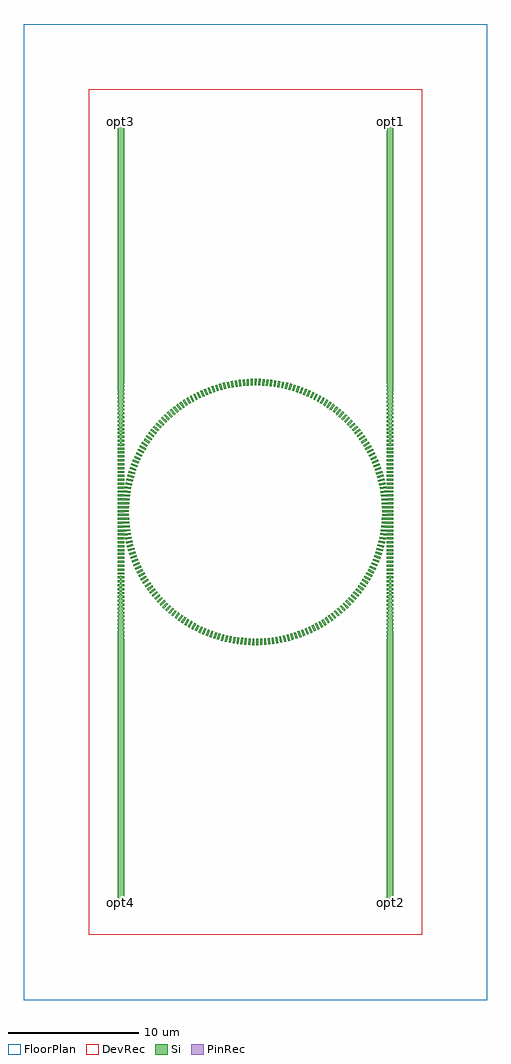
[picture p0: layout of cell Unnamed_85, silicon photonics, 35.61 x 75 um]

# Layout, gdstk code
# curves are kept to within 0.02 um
import gdstk
lib = gdstk.Library(unit=1e-6, precision=1e-09)
def R(c, l, rs):  # rectangles x0, y0, x1, y1
    for r in rs: c.add(gdstk.rectangle(r[:2], r[2:], *l))
def A(c, l, x, y, w, h, nx, ny, dx, dy):  # array of equal rectangles
    R(c, l, [(x+i*dx, y+j*dy, x+i*dx+w, y+j*dy+h) for i in range(nx) for j in range(ny)])
def P(c, l, *ps):  # polygons
    for p in ps: c.add(gdstk.Polygon(p, *l))
Si = (1, 0)
PinRec = (1, 10)
DevRec = (68, 0)
FloorPlan = (99, 0)

unnamed_85 = lib.new_cell('Unnamed_85')
A(unnamed_85, Si, -10.604, -4.8, 0.5, 0.15, 1, 11, 0, 0.3)
A(unnamed_85, Si, 10.104, -4.8, 0.5, 0.15, 1, 11, 0, 0.3)
A(unnamed_85, Si, -10.604, 1.8, 0.5, 0.15, 1, 11, 0, 0.3)
A(unnamed_85, Si, 10.104, 1.8, 0.5, 0.15, 1, 11, 0, 0.3)
P(unnamed_85, Si, [(-0.072,9.729),(-0.076,10.229),(0.078,10.229),(0.074,9.729)],
  [(9.725,0.292),(9.719,0.439),(10.219,0.461),(10.219,0.45),(10.604,0.45),(10.604,0.3),(10.104,0.3),(10.104,0.303)],
  [(9.711,0.585),(9.702,0.73),(10.2,0.768),(10.201,0.75),(10.604,0.75),(10.604,0.6),(10.104,0.6),(10.104,0.609)],
  [(9.689,0.876),(9.675,1.022),(10.172,1.074),(10.174,1.05),(10.604,1.05),(10.604,0.9),(10.104,0.9),(10.104,0.913)],
  [(9.659,1.167),(9.64,1.312),(10.136,1.38),(10.14,1.35),(10.604,1.35),(10.604,1.2),(10.104,1.2),(10.104,1.221)],
  [(9.619,1.457),(9.596,1.601),(10.09,1.684),(10.104,1.595),(10.104,1.65),(10.604,1.65),(10.604,1.5),(10.104,1.5),(10.104,1.53)],
  [(9.571,1.745),(9.544,1.889),(10.034,1.986),(10.063,1.835)],
  [(9.514,2.032),(9.483,2.175),(9.97,2.287),(10.003,2.137)],
  [(9.449,2.317),(9.413,2.459),(9.897,2.585),(9.935,2.436)],
  [(9.375,2.6),(9.335,2.741),(9.815,2.882),(9.857,2.734)],
  [(9.293,2.881),(9.248,3.02),(9.724,3.175),(9.77,3.029)],
  [(9.202,3.159),(9.153,3.297),(9.624,3.466),(9.675,3.321)],
  [(9.103,3.434),(9.05,3.57),(9.515,3.754),(9.571,3.61)],
  [(8.996,3.706),(8.939,3.841),(9.398,4.038),(9.458,3.896)],
  [(8.88,3.975),(8.819,4.108),(9.273,4.319),(9.336,4.179)],
  [(8.757,4.24),(8.692,4.371),(9.139,4.596),(9.207,4.458)],
  [(8.625,4.501),(8.557,4.63),(8.996,4.868),(9.068,4.732)],
  [(8.486,4.758),(8.414,4.885),(8.846,5.136),(8.922,5.003)],
  [(8.339,5.011),(8.263,5.136),(8.688,5.4),(8.768,5.269)],
  [(8.185,5.26),(8.105,5.382),(8.521,5.659),(8.605,5.53)],
  [(8.023,5.503),(7.939,5.623),(8.347,5.912),(8.435,5.786)],
  [(7.854,5.742),(7.767,5.859),(8.166,6.16),(8.258,6.037)],
  [(7.678,5.975),(7.587,6.09),(7.977,6.403),(8.072,6.282)],
  [(7.495,6.203),(7.401,6.315),(7.781,6.64),(7.88,6.522)],
  [(7.305,6.426),(7.208,6.535),(7.578,6.871),(7.68,6.756)],
  [(7.109,6.642),(7.008,6.749),(7.368,7.095),(7.474,6.984)],
  [(6.906,6.853),(6.802,6.956),(7.151,7.314),(7.261,7.205)],
  [(6.697,7.058),(6.59,7.157),(6.928,7.525),(7.041,7.42)],
  [(6.481,7.256),(6.372,7.352),(6.699,7.73),(6.815,7.629)],
  [(6.26,7.447),(6.148,7.54),(6.464,7.928),(6.582,7.83)],
  [(6.034,7.632),(5.918,7.722),(6.223,8.119),(6.344,8.024)],
  [(5.802,7.81),(5.684,7.896),(5.976,8.302),(6.1,8.211)],
  [(5.564,7.981),(5.444,8.064),(5.723,8.478),(5.85,8.391)],
  [(5.322,8.144),(5.199,8.223),(5.466,8.646),(5.595,8.563)],
  [(5.075,8.301),(4.949,8.376),(5.204,8.806),(5.335,8.727)],
  [(4.823,8.449),(4.695,8.521),(4.937,8.959),(5.071,8.884)],
  [(4.567,8.591),(4.437,8.658),(4.665,9.103),(4.801,9.032)],
  [(4.306,8.724),(4.175,8.788),(4.389,9.239),(4.528,9.172)],
  [(4.042,8.849),(3.909,8.909),(4.11,9.367),(4.25,9.304)],
  [(3.775,8.967),(3.639,9.023),(3.826,9.486),(3.969,9.428)],
  [(3.503,9.076),(3.366,9.128),(3.54,9.597),(3.683,9.543)],
  [(3.229,9.178),(3.091,9.225),(3.249,9.699),(3.395,9.649)],
  [(2.952,9.27),(2.812,9.314),(2.956,9.792),(3.103,9.747)],
  [(2.672,9.355),(2.531,9.394),(2.661,9.877),(2.809,9.836)],
  [(2.389,9.431),(2.247,9.466),(2.363,9.952),(2.512,9.916)],
  [(2.105,9.499),(1.962,9.529),(2.063,10.019),(2.213,9.987)],
  [(1.818,9.558),(1.674,9.584),(1.76,10.076),(1.912,10.049)],
  [(1.53,9.608),(1.386,9.63),(1.457,10.125),(1.609,10.102)],
  [(1.241,9.65),(1.096,9.667),(1.152,10.164),(1.304,10.145)],
  [(0.95,9.683),(0.805,9.696),(0.846,10.194),(0.999,10.18)],
  [(0.659,9.707),(0.513,9.715),(0.539,10.215),(0.693,10.206)],
  [(0.367,9.722),(0.22,9.727),(0.232,10.226),(0.385,10.222)],
  [(9.729,0),(9.728,0.146),(10.228,0.154),(10.228,0.15),(10.604,0.15),(10.604,0)],
  [(10.324,5.05),(10.322,5.1),(10.104,5.1),(10.104,5.25),(10.315,5.25),(10.309,5.4),(10.104,5.4),(10.104,5.55),(10.302,5.55),(10.295,5.7),(10.104,5.7),(10.104,5.85),(10.289,5.85),(10.282,6),(10.104,6),(10.104,6.15),(10.276,6.15),(10.269,6.3),(10.104,6.3),(10.104,6.45),(10.262,6.45),(10.256,6.6),(10.104,6.6),(10.104,6.75),(10.249,6.75),(10.243,6.9),(10.104,6.9),(10.104,7.05),(10.236,7.05),(10.229,7.2),(10.104,7.2),(10.104,7.35),(10.223,7.35),(10.216,7.5),(10.104,7.5),(10.104,7.65),(10.21,7.65),(10.203,7.8),(10.104,7.8),(10.104,7.95),(10.196,7.95),(10.19,8.1),(10.104,8.1),(10.104,8.25),(10.183,8.25),(10.177,8.4),(10.104,8.4),(10.104,8.55),(10.17,8.55),(10.163,8.7),(10.104,8.7),(10.104,8.85),(10.157,8.85),(10.15,9),(10.104,9),(10.104,9.15),(10.144,9.15),(10.137,9.3),(10.104,9.3),(10.104,9.45),(10.13,9.45),(10.104,9.6),(10.104,30),(10.604,30),(10.604,9.6),(10.578,9.45),(10.604,9.45),(10.604,9.3),(10.571,9.3),(10.564,9.15),(10.604,9.15),(10.604,9),(10.558,9),(10.551,8.85),(10.604,8.85),(10.604,8.7),(10.545,8.7),(10.538,8.55),(10.604,8.55),(10.604,8.4),(10.531,8.4),(10.525,8.25),(10.604,8.25),(10.604,8.1),(10.518,8.1),(10.512,7.95),(10.604,7.95),(10.604,7.8),(10.505,7.8),(10.498,7.65),(10.604,7.65),(10.604,7.5),(10.492,7.5),(10.485,7.35),(10.604,7.35),(10.604,7.2),(10.479,7.2),(10.472,7.05),(10.604,7.05),(10.604,6.9),(10.465,6.9),(10.459,6.75),(10.604,6.75),(10.604,6.6),(10.452,6.6),(10.446,6.45),(10.604,6.45),(10.604,6.3),(10.439,6.3),(10.432,6.15),(10.604,6.15),(10.604,6),(10.426,6),(10.419,5.85),(10.604,5.85),(10.604,5.7),(10.413,5.7),(10.406,5.55),(10.604,5.55),(10.604,5.4),(10.399,5.4),(10.393,5.25),(10.604,5.25),(10.604,5.1),(10.386,5.1),(10.384,5.05)],
  [(-7.853,5.744),(-8.256,6.039),(-8.164,6.162),(-7.765,5.861)],
  [(-7.676,5.977),(-8.071,6.284),(-7.976,6.405),(-7.586,6.092)],
  [(-10.604,0),(-10.604,0.15),(-10.228,0.15),(-10.228,0.156),(-9.728,0.149),(-9.729,0.002),(-10.104,0.002),(-10.104,0)],
  [(-7.493,6.205),(-7.878,6.524),(-7.779,6.642),(-7.399,6.317)],
  [(-9.201,3.161),(-9.674,3.323),(-9.623,3.468),(-9.153,3.299)],
  [(-7.303,6.428),(-7.679,6.758),(-7.576,6.873),(-7.206,6.537)],
  [(-7.107,6.644),(-7.472,6.986),(-7.366,7.097),(-7.006,6.75)],
  [(-9.658,1.169),(-10.104,1.223),(-10.104,1.2),(-10.604,1.2),(-10.604,1.35),(-10.139,1.35),(-10.135,1.382),(-9.64,1.314)],
  [(-6.904,6.855),(-7.259,7.207),(-7.15,7.315),(-6.8,6.958)],
  [(-9.514,2.034),(-10.003,2.139),(-9.97,2.289),(-9.482,2.177)],
  [(-6.695,7.059),(-7.039,7.422),(-6.927,7.527),(-6.588,7.159)],
  [(-9.102,3.436),(-9.57,3.613),(-9.514,3.756),(-9.049,3.572)],
  [(-6.48,7.257),(-6.813,7.63),(-6.697,7.732),(-6.37,7.354)],
  [(-6.259,7.449),(-6.58,7.832),(-6.462,7.93),(-6.146,7.542)],
  [(-8.995,3.708),(-9.457,3.899),(-9.397,4.04),(-8.938,3.843)],
  [(-6.032,7.633),(-6.342,8.026),(-6.221,8.12),(-5.917,7.723)],
  [(-5.8,7.811),(-6.098,8.213),(-5.974,8.303),(-5.682,7.898)],
  [(-9.711,0.587),(-10.104,0.611),(-10.104,0.6),(-10.604,0.6),(-10.604,0.75),(-10.201,0.75),(-10.2,0.77),(-9.701,0.733)],
  [(-5.562,7.982),(-5.848,8.392),(-5.721,8.479),(-5.442,8.065)],
  [(-9.619,1.459),(-10.104,1.533),(-10.104,1.5),(-10.604,1.5),(-10.604,1.65),(-10.104,1.65),(-10.104,1.591),(-10.089,1.686),(-9.596,1.603)],
  [(-5.32,8.146),(-5.593,8.564),(-5.464,8.647),(-5.197,8.225)],
  [(-8.879,3.977),(-9.335,4.181),(-9.272,4.321),(-8.818,4.11)],
  [(-5.073,8.302),(-5.333,8.729),(-5.202,8.808),(-4.947,8.377)],
  [(-4.821,8.451),(-5.069,8.885),(-4.935,8.96),(-4.693,8.522)],
  [(-9.448,2.319),(-9.934,2.439),(-9.896,2.588),(-9.413,2.461)],
  [(-4.565,8.592),(-4.799,9.033),(-4.663,9.104),(-4.435,8.659)],
  [(-4.304,8.725),(-4.526,9.173),(-4.387,9.24),(-4.173,8.789)],
  [(-8.756,4.242),(-9.206,4.46),(-9.137,4.598),(-8.691,4.373)],
  [(-4.04,8.85),(-4.248,9.305),(-4.108,9.368),(-3.907,8.91)],
  [(-3.772,8.968),(-3.966,9.429),(-3.824,9.487),(-3.637,9.024)],
  [(-3.501,9.077),(-3.681,9.544),(-3.537,9.598),(-3.364,9.129)],
  [(-9.725,0.295),(-10.104,0.306),(-10.104,0.3),(-10.604,0.3),(-10.604,0.45),(-10.219,0.45),(-10.219,0.464),(-9.719,0.441)],
  [(-3.227,9.178),(-3.393,9.65),(-3.247,9.7),(-3.088,9.226)],
  [(-8.624,4.503),(-9.067,4.735),(-8.995,4.87),(-8.555,4.632)],
  [(-2.949,9.271),(-3.101,9.748),(-2.954,9.793),(-2.81,9.314)],
  [(-2.669,9.356),(-2.807,9.836),(-2.658,9.878),(-2.529,9.395)],
  [(-9.375,2.602),(-9.856,2.736),(-9.814,2.884),(-9.334,2.743)],
  [(-2.387,9.432),(-2.51,9.916),(-2.36,9.953),(-2.245,9.466)],
  [(-2.102,9.499),(-2.211,9.987),(-2.06,10.019),(-1.959,9.53)],
  [(-8.485,4.76),(-8.921,5.005),(-8.845,5.138),(-8.412,4.887)],
  [(-1.816,9.558),(-1.909,10.049),(-1.758,10.077),(-1.672,9.584)],
  [(-1.528,9.608),(-1.606,10.102),(-1.454,10.125),(-1.383,9.63)],
  [(-9.689,0.878),(-10.104,0.916),(-10.104,0.9),(-10.604,0.9),(-10.604,1.05),(-10.175,1.05),(-10.172,1.077),(-9.675,1.024)],
  [(-1.238,9.65),(-1.302,10.146),(-1.149,10.164),(-1.093,9.667)],
  [(-8.338,5.013),(-8.767,5.271),(-8.686,5.402),(-8.262,5.138)],
  [(-0.948,9.683),(-0.997,10.18),(-0.843,10.194),(-0.802,9.696)],
  [(-9.571,1.748),(-10.063,1.837),(-10.034,1.988),(-9.543,1.891)],
  [(-0.656,9.707),(-0.69,10.206),(-0.537,10.215),(-0.51,9.716)],
  [(-8.184,5.261),(-8.604,5.532),(-8.52,5.661),(-8.104,5.384)],
  [(-0.364,9.722),(-0.383,10.222),(-0.229,10.226),(-0.218,9.727)],
  [(-9.292,2.883),(-9.77,3.031),(-9.723,3.178),(-9.248,3.022)],
  [(-8.022,5.505),(-8.434,5.788),(-8.346,5.914),(-7.938,5.625)],
  [(-10.384,5.05),(-10.386,5.1),(-10.604,5.1),(-10.604,5.25),(-10.393,5.25),(-10.399,5.4),(-10.604,5.4),(-10.604,5.55),(-10.406,5.55),(-10.413,5.7),(-10.604,5.7),(-10.604,5.85),(-10.419,5.85),(-10.426,6),(-10.604,6),(-10.604,6.15),(-10.432,6.15),(-10.439,6.3),(-10.604,6.3),(-10.604,6.45),(-10.446,6.45),(-10.452,6.6),(-10.604,6.6),(-10.604,6.75),(-10.459,6.75),(-10.465,6.9),(-10.604,6.9),(-10.604,7.05),(-10.472,7.05),(-10.479,7.2),(-10.604,7.2),(-10.604,7.35),(-10.485,7.35),(-10.492,7.5),(-10.604,7.5),(-10.604,7.65),(-10.498,7.65),(-10.505,7.8),(-10.604,7.8),(-10.604,7.95),(-10.512,7.95),(-10.518,8.1),(-10.604,8.1),(-10.604,8.25),(-10.525,8.25),(-10.531,8.4),(-10.604,8.4),(-10.604,8.55),(-10.538,8.55),(-10.545,8.7),(-10.604,8.7),(-10.604,8.85),(-10.551,8.85),(-10.558,9),(-10.604,9),(-10.604,9.15),(-10.564,9.15),(-10.571,9.3),(-10.604,9.3),(-10.604,9.45),(-10.578,9.45),(-10.604,9.6),(-10.604,30),(-10.104,30),(-10.104,9.6),(-10.13,9.45),(-10.104,9.45),(-10.104,9.3),(-10.137,9.3),(-10.144,9.15),(-10.104,9.15),(-10.104,9),(-10.15,9),(-10.157,8.85),(-10.104,8.85),(-10.104,8.7),(-10.163,8.7),(-10.17,8.55),(-10.104,8.55),(-10.104,8.4),(-10.177,8.4),(-10.183,8.25),(-10.104,8.25),(-10.104,8.1),(-10.19,8.1),(-10.196,7.95),(-10.104,7.95),(-10.104,7.8),(-10.203,7.8),(-10.21,7.65),(-10.104,7.65),(-10.104,7.5),(-10.216,7.5),(-10.223,7.35),(-10.104,7.35),(-10.104,7.2),(-10.229,7.2),(-10.236,7.05),(-10.104,7.05),(-10.104,6.9),(-10.243,6.9),(-10.249,6.75),(-10.104,6.75),(-10.104,6.6),(-10.256,6.6),(-10.262,6.45),(-10.104,6.45),(-10.104,6.3),(-10.269,6.3),(-10.276,6.15),(-10.104,6.15),(-10.104,6),(-10.282,6),(-10.289,5.85),(-10.104,5.85),(-10.104,5.7),(-10.295,5.7),(-10.302,5.55),(-10.104,5.55),(-10.104,5.4),(-10.309,5.4),(-10.315,5.25),(-10.104,5.25),(-10.104,5.1),(-10.322,5.1),(-10.324,5.05)],
  [(-0.388,-10.222),(-0.541,-10.215),(-0.515,-9.715),(-0.369,-9.722)],
  [(-0.695,-10.205),(-0.848,-10.194),(-0.807,-9.696),(-0.661,-9.707)],
  [(-1.001,-10.18),(-1.154,-10.164),(-1.098,-9.667),(-0.952,-9.682)],
  [(-1.307,-10.145),(-1.459,-10.124),(-1.388,-9.63),(-1.243,-9.649)],
  [(-1.611,-10.101),(-1.763,-10.076),(-1.677,-9.583),(-1.532,-9.608)],
  [(-1.914,-10.048),(-2.065,-10.018),(-1.964,-9.529),(-1.821,-9.557)],
  [(-2.215,-9.986),(-2.365,-9.952),(-2.249,-9.465),(-2.107,-9.498)],
  [(-2.514,-9.915),(-2.663,-9.876),(-2.533,-9.393),(-2.392,-9.431)],
  [(-2.811,-9.835),(-2.959,-9.792),(-2.814,-9.313),(-2.674,-9.354)],
  [(-3.106,-9.746),(-3.252,-9.698),(-3.093,-9.224),(-2.954,-9.27)],
  [(-3.397,-9.648),(-3.542,-9.596),(-3.369,-9.127),(-3.231,-9.177)],
  [(-3.686,-9.542),(-3.829,-9.485),(-3.641,-9.022),(-3.505,-9.076)],
  [(-3.971,-9.427),(-4.112,-9.366),(-3.911,-8.908),(-3.777,-8.966)],
  [(-4.252,-9.303),(-4.392,-9.238),(-4.177,-8.787),(-4.044,-8.849)],
  [(-4.53,-9.171),(-4.667,-9.102),(-4.439,-8.657),(-4.309,-8.723)],
  [(-4.804,-9.031),(-4.939,-8.958),(-4.697,-8.52),(-4.569,-8.59)],
  [(-5.073,-8.883),(-5.206,-8.805),(-4.951,-8.375),(-4.825,-8.448)],
  [(-5.338,-8.726),(-5.468,-8.645),(-5.201,-8.222),(-5.077,-8.299)],
  [(-5.597,-8.562),(-5.725,-8.477),(-5.446,-8.062),(-5.324,-8.143)],
  [(-5.852,-8.39),(-5.978,-8.301),(-5.685,-7.895),(-5.566,-7.979)],
  [(-6.102,-8.21),(-6.224,-8.117),(-5.92,-7.72),(-5.803,-7.809)],
  [(-6.346,-8.023),(-6.466,-7.926),(-6.15,-7.539),(-6.036,-7.631)],
  [(-6.584,-7.828),(-6.701,-7.729),(-6.373,-7.351),(-6.262,-7.446)],
  [(-6.816,-7.627),(-6.93,-7.524),(-6.591,-7.156),(-6.483,-7.254)],
  [(-7.042,-7.419),(-7.153,-7.312),(-6.804,-6.955),(-6.698,-7.056)],
  [(-7.262,-7.204),(-7.37,-7.094),(-7.009,-6.747),(-6.907,-6.852)],
  [(-7.475,-6.982),(-7.58,-6.869),(-7.209,-6.533),(-7.11,-6.641)],
  [(-7.682,-6.754),(-7.783,-6.638),(-7.402,-6.314),(-7.306,-6.424)],
  [(-7.882,-6.52),(-7.979,-6.401),(-7.589,-6.088),(-7.496,-6.202)],
  [(-8.074,-6.28),(-8.167,-6.158),(-7.768,-5.857),(-7.679,-5.973)],
  [(-8.259,-6.035),(-8.349,-5.91),(-7.941,-5.621),(-7.855,-5.74)],
  [(-8.437,-5.784),(-8.523,-5.657),(-8.106,-5.38),(-8.024,-5.501)],
  [(-8.607,-5.528),(-8.689,-5.398),(-8.264,-5.134),(-8.186,-5.258)],
  [(-10.604,-30),(-10.604,-9.45),(-10.578,-9.3),(-10.604,-9.3),(-10.604,-9.15),(-10.571,-9.15),(-10.564,-9),(-10.604,-9),(-10.604,-8.85),(-10.558,-8.85),(-10.551,-8.7),(-10.604,-8.7),(-10.604,-8.55),(-10.545,-8.55),(-10.538,-8.4),(-10.604,-8.4),(-10.604,-8.25),(-10.531,-8.25),(-10.525,-8.1),(-10.604,-8.1),(-10.604,-7.95),(-10.518,-7.95),(-10.512,-7.8),(-10.604,-7.8),(-10.604,-7.65),(-10.505,-7.65),(-10.498,-7.5),(-10.604,-7.5),(-10.604,-7.35),(-10.492,-7.35),(-10.485,-7.2),(-10.604,-7.2),(-10.604,-7.05),(-10.479,-7.05),(-10.472,-6.9),(-10.604,-6.9),(-10.604,-6.75),(-10.465,-6.75),(-10.459,-6.6),(-10.604,-6.6),(-10.604,-6.45),(-10.452,-6.45),(-10.446,-6.3),(-10.604,-6.3),(-10.604,-6.15),(-10.439,-6.15),(-10.432,-6),(-10.604,-6),(-10.604,-5.85),(-10.426,-5.85),(-10.419,-5.7),(-10.604,-5.7),(-10.604,-5.55),(-10.413,-5.55),(-10.406,-5.4),(-10.604,-5.4),(-10.604,-5.25),(-10.399,-5.25),(-10.393,-5.1),(-10.604,-5.1),(-10.604,-4.95),(-10.386,-4.95),(-10.384,-4.9),(-10.324,-4.9),(-10.322,-4.95),(-10.104,-4.95),(-10.104,-5.1),(-10.315,-5.1),(-10.309,-5.25),(-10.104,-5.25),(-10.104,-5.4),(-10.302,-5.4),(-10.295,-5.55),(-10.104,-5.55),(-10.104,-5.7),(-10.289,-5.7),(-10.282,-5.85),(-10.104,-5.85),(-10.104,-6),(-10.276,-6),(-10.269,-6.15),(-10.104,-6.15),(-10.104,-6.3),(-10.262,-6.3),(-10.256,-6.45),(-10.104,-6.45),(-10.104,-6.6),(-10.249,-6.6),(-10.243,-6.75),(-10.104,-6.75),(-10.104,-6.9),(-10.236,-6.9),(-10.229,-7.05),(-10.104,-7.05),(-10.104,-7.2),(-10.223,-7.2),(-10.216,-7.35),(-10.104,-7.35),(-10.104,-7.5),(-10.21,-7.5),(-10.203,-7.65),(-10.104,-7.65),(-10.104,-7.8),(-10.196,-7.8),(-10.19,-7.95),(-10.104,-7.95),(-10.104,-8.1),(-10.183,-8.1),(-10.177,-8.25),(-10.104,-8.25),(-10.104,-8.4),(-10.17,-8.4),(-10.163,-8.55),(-10.104,-8.55),(-10.104,-8.7),(-10.157,-8.7),(-10.15,-8.85),(-10.104,-8.85),(-10.104,-9),(-10.144,-9),(-10.137,-9.15),(-10.104,-9.15),(-10.104,-9.3),(-10.13,-9.3),(-10.104,-9.45),(-10.104,-30)],
  [(-8.769,-5.267),(-8.847,-5.134),(-8.415,-4.883),(-8.34,-5.009)],
  [(-8.923,-5.001),(-8.997,-4.866),(-8.558,-4.628),(-8.487,-4.756)],
  [(-9.07,-4.73),(-9.14,-4.593),(-8.693,-4.369),(-8.626,-4.499)],
  [(-9.208,-4.455),(-9.274,-4.317),(-8.82,-4.106),(-8.758,-4.238)],
  [(-9.337,-4.177),(-9.399,-4.036),(-8.94,-3.839),(-8.881,-3.973)],
  [(-9.459,-3.894),(-9.516,-3.752),(-9.051,-3.568),(-8.996,-3.704)],
  [(-9.572,-3.608),(-9.625,-3.464),(-9.154,-3.295),(-9.104,-3.432)],
  [(-9.676,-3.319),(-9.724,-3.173),(-9.249,-3.018),(-9.203,-3.157)],
  [(-9.771,-3.027),(-9.815,-2.879),(-9.336,-2.739),(-9.293,-2.879)],
  [(-9.858,-2.731),(-9.898,-2.583),(-9.414,-2.457),(-9.376,-2.598)],
  [(-9.935,-2.434),(-9.971,-2.284),(-9.483,-2.173),(-9.45,-2.315)],
  [(-10.004,-2.134),(-10.035,-1.984),(-9.544,-1.887),(-9.515,-2.03)],
  [(-10.064,-1.833),(-10.09,-1.681),(-9.597,-1.599),(-9.572,-1.743)],
  [(-10.114,-1.529),(-10.118,-1.5),(-10.604,-1.5),(-10.604,-1.35),(-10.104,-1.35),(-10.104,-1.373),(-9.64,-1.31),(-9.62,-1.455)],
  [(-10.155,-1.225),(-10.158,-1.2),(-10.604,-1.2),(-10.604,-1.05),(-10.104,-1.05),(-10.104,-1.065),(-9.675,-1.019),(-9.659,-1.165)],
  [(-10.188,-0.919),(-10.189,-0.9),(-10.604,-0.9),(-10.604,-0.75),(-10.104,-0.75),(-10.104,-0.759),(-9.702,-0.728),(-9.69,-0.874)],
  [(-10.211,-0.612),(-10.212,-0.6),(-10.604,-0.6),(-10.604,-0.45),(-10.104,-0.45),(-10.104,-0.454),(-9.719,-0.436),(-9.712,-0.582)],
  [(-10.224,-0.305),(-10.224,-0.3),(-10.604,-0.3),(-10.604,-0.15),(-10.157,-0.15),(-9.728,-0.144),(-9.725,-0.29)],
  [(-0.081,-10.229),(-0.234,-10.226),(-0.223,-9.726),(-0.077,-9.729)],
  [(4.797,-9.034),(4.563,-8.593),(4.691,-8.523),(4.932,-8.961)],
  [(8.603,-5.534),(8.182,-5.263),(8.26,-5.14),(8.685,-5.404)],
  [(2.507,-9.917),(2.385,-9.432),(2.526,-9.395),(2.656,-9.878)],
  [(5.067,-8.886),(4.819,-8.452),(4.945,-8.378),(5.2,-8.809)],
  [(10.104,-30),(10.104,-9.45),(10.13,-9.3),(10.104,-9.3),(10.104,-9.15),(10.137,-9.15),(10.144,-9),(10.104,-9),(10.104,-8.85),(10.15,-8.85),(10.157,-8.7),(10.104,-8.7),(10.104,-8.55),(10.163,-8.55),(10.17,-8.4),(10.104,-8.4),(10.104,-8.25),(10.177,-8.25),(10.183,-8.1),(10.104,-8.1),(10.104,-7.95),(10.19,-7.95),(10.196,-7.8),(10.104,-7.8),(10.104,-7.65),(10.203,-7.65),(10.21,-7.5),(10.104,-7.5),(10.104,-7.35),(10.216,-7.35),(10.223,-7.2),(10.104,-7.2),(10.104,-7.05),(10.229,-7.05),(10.236,-6.9),(10.104,-6.9),(10.104,-6.75),(10.243,-6.75),(10.249,-6.6),(10.104,-6.6),(10.104,-6.45),(10.256,-6.45),(10.262,-6.3),(10.104,-6.3),(10.104,-6.15),(10.269,-6.15),(10.276,-6),(10.104,-6),(10.104,-5.85),(10.282,-5.85),(10.289,-5.7),(10.104,-5.7),(10.104,-5.55),(10.295,-5.55),(10.302,-5.4),(10.104,-5.4),(10.104,-5.25),(10.309,-5.25),(10.315,-5.1),(10.104,-5.1),(10.104,-4.95),(10.322,-4.95),(10.324,-4.9),(10.384,-4.9),(10.386,-4.95),(10.604,-4.95),(10.604,-5.1),(10.393,-5.1),(10.399,-5.25),(10.604,-5.25),(10.604,-5.4),(10.406,-5.4),(10.413,-5.55),(10.604,-5.55),(10.604,-5.7),(10.419,-5.7),(10.426,-5.85),(10.604,-5.85),(10.604,-6),(10.432,-6),(10.439,-6.15),(10.604,-6.15),(10.604,-6.3),(10.446,-6.3),(10.452,-6.45),(10.604,-6.45),(10.604,-6.6),(10.459,-6.6),(10.465,-6.75),(10.604,-6.75),(10.604,-6.9),(10.472,-6.9),(10.479,-7.05),(10.604,-7.05),(10.604,-7.2),(10.485,-7.2),(10.492,-7.35),(10.604,-7.35),(10.604,-7.5),(10.498,-7.5),(10.505,-7.65),(10.604,-7.65),(10.604,-7.8),(10.512,-7.8),(10.518,-7.95),(10.604,-7.95),(10.604,-8.1),(10.525,-8.1),(10.531,-8.25),(10.604,-8.25),(10.604,-8.4),(10.538,-8.4),(10.545,-8.55),(10.604,-8.55),(10.604,-8.7),(10.551,-8.7),(10.558,-8.85),(10.604,-8.85),(10.604,-9),(10.564,-9),(10.571,-9.15),(10.604,-9.15),(10.604,-9.3),(10.578,-9.3),(10.604,-9.45),(10.604,-30)],
  [(8.765,-5.273),(8.337,-5.015),(8.411,-4.889),(8.844,-5.141)],
  [(0.381,-10.222),(0.362,-9.722),(0.508,-9.716),(0.534,-10.215)],
  [(5.331,-8.73),(5.071,-8.303),(5.195,-8.226),(5.462,-8.649)],
  [(8.92,-5.007),(8.484,-4.762),(8.554,-4.634),(8.994,-4.872)],
  [(2.804,-9.837),(2.667,-9.356),(2.808,-9.315),(2.952,-9.794)],
  [(9.066,-4.737),(8.623,-4.505),(8.69,-4.375),(9.136,-4.6)],
  [(5.591,-8.566),(5.318,-8.147),(5.44,-8.066),(5.719,-8.481)],
  [(1.3,-10.146),(1.236,-9.65),(1.381,-9.63),(1.452,-10.125)],
  [(9.205,-4.462),(8.755,-4.244),(8.817,-4.112),(9.271,-4.323)],
  [(5.846,-8.394),(5.56,-7.983),(5.68,-7.899),(5.972,-8.305)],
  [(3.099,-9.748),(2.947,-9.272),(3.086,-9.227),(3.245,-9.701)],
  [(9.334,-4.183),(8.878,-3.979),(8.937,-3.845),(9.396,-4.043)],
  [(6.096,-8.214),(5.798,-7.813),(5.915,-7.725),(6.219,-8.122)],
  [(1.604,-10.102),(1.526,-9.609),(1.67,-9.585),(1.756,-10.077)],
  [(9.456,-3.901),(8.994,-3.71),(9.049,-3.575),(9.514,-3.758)],
  [(6.34,-8.027),(6.03,-7.635),(6.144,-7.543),(6.46,-7.931)],
  [(3.39,-9.651),(3.225,-9.179),(3.362,-9.13),(3.535,-9.599)],
  [(9.569,-3.615),(9.101,-3.438),(9.152,-3.301),(9.622,-3.471)],
  [(6.578,-7.833),(6.257,-7.45),(6.368,-7.355),(6.695,-7.733)],
  [(0.688,-10.206),(0.654,-9.707),(0.8,-9.696),(0.841,-10.194)],
  [(9.673,-3.326),(9.2,-3.163),(9.247,-3.024),(9.722,-3.18)],
  [(6.811,-7.632),(6.478,-7.259),(6.586,-7.161),(6.925,-7.529)],
  [(3.679,-9.545),(3.499,-9.078),(3.635,-9.024),(3.822,-9.488)],
  [(9.769,-3.033),(9.291,-2.885),(9.334,-2.745),(9.813,-2.886)],
  [(7.037,-7.424),(6.693,-7.061),(6.799,-6.959),(7.148,-7.317)],
  [(1.907,-10.05),(1.814,-9.558),(1.957,-9.53),(2.058,-10.02)],
  [(9.856,-2.738),(9.374,-2.605),(9.412,-2.463),(9.896,-2.59)],
  [(7.257,-7.209),(6.902,-6.856),(7.005,-6.752),(7.365,-7.099)],
  [(3.964,-9.43),(3.77,-8.969),(3.905,-8.911),(4.105,-9.369)],
  [(9.933,-2.441),(9.448,-2.322),(9.482,-2.179),(9.969,-2.291)],
  [(7.471,-6.987),(7.105,-6.646),(7.204,-6.538),(7.575,-6.874)],
  [(0.994,-10.181),(0.946,-9.683),(1.091,-9.668),(1.147,-10.164)],
  [(10.002,-2.141),(9.513,-2.037),(9.543,-1.893),(10.033,-1.991)],
  [(7.677,-6.76),(7.302,-6.429),(7.398,-6.319),(7.778,-6.644)],
  [(4.246,-9.306),(4.038,-8.851),(4.171,-8.79),(4.385,-9.241)],
  [(10.062,-1.84),(9.57,-1.75),(9.596,-1.606),(10.089,-1.688)],
  [(7.877,-6.526),(7.492,-6.207),(7.584,-6.094),(7.974,-6.407)],
  [(10.113,-1.536),(9.619,-1.461),(9.64,-1.317),(10.104,-1.38),(10.104,-1.35),(10.604,-1.35),(10.604,-1.5),(10.118,-1.5)],
  [(2.208,-9.988),(2.1,-9.5),(2.243,-9.467),(2.358,-9.954)],
  [(10.155,-1.232),(9.658,-1.172),(9.675,-1.026),(10.104,-1.072),(10.104,-1.05),(10.604,-1.05),(10.604,-1.2),(10.159,-1.2)],
  [(8.069,-6.286),(7.675,-5.979),(7.764,-5.863),(8.163,-6.164)],
  [(10.187,-0.926),(9.689,-0.881),(9.701,-0.735),(10.104,-0.766),(10.104,-0.75),(10.604,-0.75),(10.604,-0.9),(10.189,-0.9)],
  [(4.523,-9.174),(4.302,-8.726),(4.433,-8.66),(4.661,-9.105)],
  [(10.21,-0.619),(9.711,-0.589),(9.719,-0.443),(10.104,-0.461),(10.104,-0.45),(10.604,-0.45),(10.604,-0.6),(10.211,-0.6)],
  [(8.255,-6.041),(7.851,-5.746),(7.937,-5.627),(8.345,-5.916)],
  [(10.224,-0.312),(9.724,-0.297),(9.728,-0.151),(10.104,-0.157),(10.104,-0.15),(10.604,-0.15),(10.604,-0.3),(10.224,-0.3)],
  [(0.073,-10.229),(0.07,-9.729),(0.216,-9.727),(0.227,-10.226)],
  [(8.433,-5.79),(8.02,-5.507),(8.102,-5.386),(8.519,-5.663)])
R(unnamed_85, PinRec, [(-10.604,-30,-10.104,-29.9), (10.104,-30,10.604,-29.9), (-10.604,29.9,-10.104,30), (10.104,29.9,10.604,30)])
R(unnamed_85, DevRec, [(-12.804,-32.5,12.804,32.5)])
R(unnamed_85, FloorPlan, [(-17.804,-37.5,17.804,37.5)])
unnamed_85.add(gdstk.Label('opt1', (10.354,30), layer=10, texttype=0))
unnamed_85.add(gdstk.Label('opt2', (10.354,-30), layer=10, texttype=0))
unnamed_85.add(gdstk.Label('opt3', (-10.354,30), layer=10, texttype=0))
unnamed_85.add(gdstk.Label('opt4', (-10.354,-30), layer=10, texttype=0))

lib.write_gds('Unnamed_85.gds')
